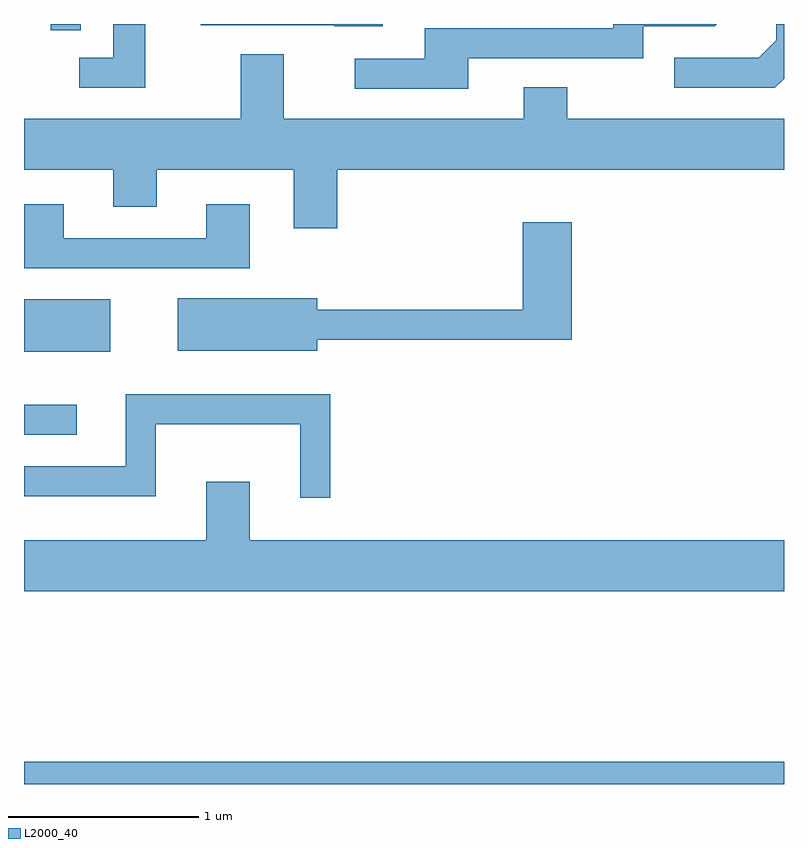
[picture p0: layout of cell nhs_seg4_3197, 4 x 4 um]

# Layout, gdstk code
import gdstk
lib = gdstk.Library(unit=1e-6, precision=1e-09)
def R(c, l, rs):  # rectangles x0, y0, x1, y1
    for r in rs: c.add(gdstk.rectangle(r[:2], r[2:], *l))
def P(c, l, *ps):  # polygons
    for p in ps: c.add(gdstk.Polygon(p, *l))
L2000_40 = (2000, 40)

nhs_seg4_3197 = lib.new_cell('nhs_seg4_3197')
R(nhs_seg4_3197, L2000_40, [(279.611,1255.982,283.611,1256.099), (279.611,1257.821,279.888,1257.979), (279.611,1258.256,280.064,1258.534), (279.751,1259.948,279.909,1259.982)])
P(nhs_seg4_3197, L2000_40, [(283.611,1259.695),(283.611,1259.982),(283.571,1259.982),(283.571,1259.897),(283.479,1259.804),(283.033,1259.804),(283.033,1259.646),(283.562,1259.646)],
  [(280.249,1259.982),(280.081,1259.982),(280.081,1259.804),(279.903,1259.804),(279.903,1259.646),(280.249,1259.646)],
  [(281.499,1259.982),(280.541,1259.982),(280.541,1259.976),(281.245,1259.976),(281.245,1259.971),(281.499,1259.971)],
  [(281.949,1259.801),(282.869,1259.801),(282.869,1259.971),(283.247,1259.971),(283.258,1259.982),(282.711,1259.982),(282.711,1259.959),(281.721,1259.959),(281.721,1259.799),(281.353,1259.799),(281.353,1259.641),(281.949,1259.641)],
  [(281.259,1259.216),(283.611,1259.216),(283.611,1259.484),(282.469,1259.484),(282.469,1259.649),(282.241,1259.649),(282.241,1259.484),(280.979,1259.484),(280.979,1259.824),(280.751,1259.824),(280.751,1259.484),(279.611,1259.484),(279.611,1259.216),(280.081,1259.216),(280.081,1259.021),(280.309,1259.021),(280.309,1259.216),(281.031,1259.216),(281.031,1258.906),(281.259,1258.906)],
  [(280.799,1259.034),(280.571,1259.034),(280.571,1258.854),(279.819,1258.854),(279.819,1259.034),(279.611,1259.034),(279.611,1258.696),(280.799,1258.696)],
  [(281.154,1258.321),(282.494,1258.321),(282.494,1258.939),(282.236,1258.939),(282.236,1258.479),(281.154,1258.479),(281.154,1258.539),(280.421,1258.539),(280.421,1258.261),(281.154,1258.261)],
  [(281.224,1258.034),(280.146,1258.034),(280.146,1257.654),(279.611,1257.654),(279.611,1257.496),(280.304,1257.496),(280.304,1257.876),(281.066,1257.876),(281.066,1257.488),(281.224,1257.488)],
  [(283.611,1257.264),(280.799,1257.264),(280.799,1257.574),(280.571,1257.574),(280.571,1257.264),(279.611,1257.264),(279.611,1256.996),(283.611,1256.996)])

lib.write_gds('nhs_seg4_3197.gds')
